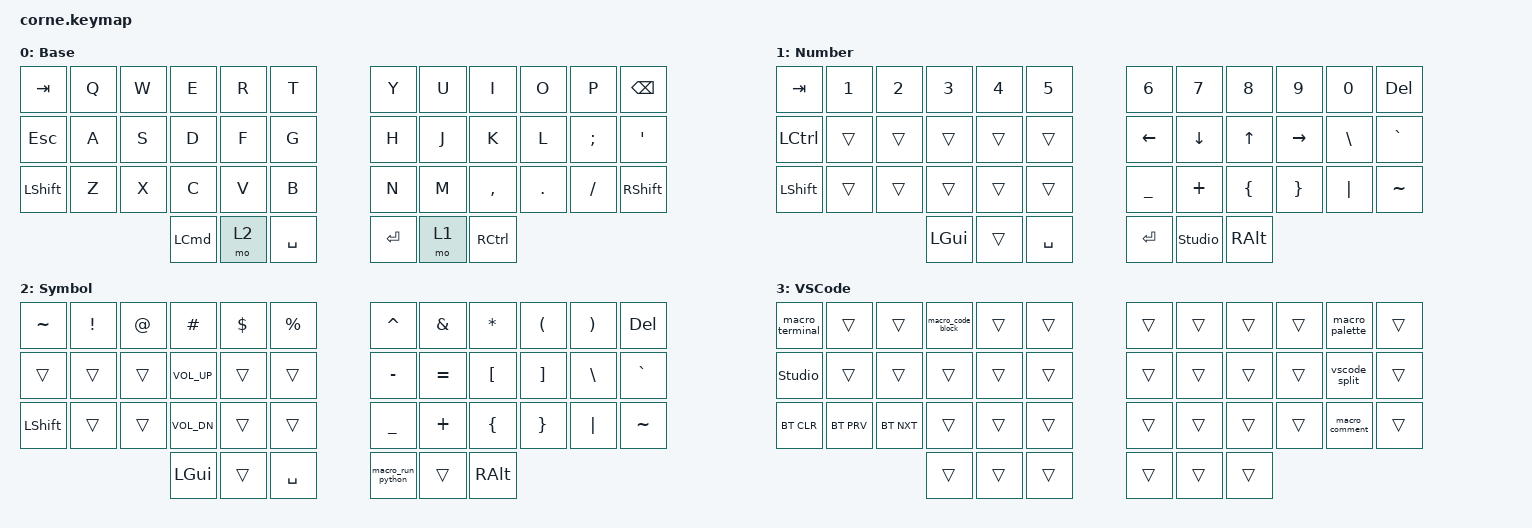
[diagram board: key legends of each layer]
/*
 * Copyright (c) 2020 The ZMK Contributors
 *
 * SPDX-License-Identifier: MIT
 */

#include <dt-bindings/zmk/reset.h>
#include <behaviors.dtsi>
#include <dt-bindings/zmk/bt.h>
#include <dt-bindings/zmk/keys.h>

/ {
    macros {
        macro_terminal: macro_terminal {
            compatible = "zmk,behavior-macro";
            #binding-cells = <0>;
            bindings = <&kp LC(GRAVE)>;
            label = "MACRO_TERMINAL";
        };

        macro_comment: macro_comment {
            compatible = "zmk,behavior-macro";
            #binding-cells = <0>;
            bindings = <&kp LG(SLASH)>;
            label = "MACRO_COMMENT";
        };

        macro_run_python: macro_run_python {
            compatible = "zmk,behavior-macro";
            #binding-cells = <0>;
            bindings = <&kp LS(ENTER)>;
            label = "MACRO_RUN_PYTHON";
        };

        macro_palette: macro_palette {
            compatible = "zmk,behavior-macro";
            #binding-cells = <0>;
            bindings = <&kp LCTRL &kp LSHFT &kp P>;
            label = "MACRO_PALETTE";
        };

        macro_code_block: macro_code_block {
            compatible = "zmk,behavior-macro";
            #binding-cells = <0>;
            bindings = <&kp POUND &kp PRCNT &kp PRCNT>;
            label = "MACRO_CODE_BLOCK";
        };

        git_commit: git_commit {
            compatible = "zmk,behavior-macro";
            #binding-cells = <0>;
            bindings = <&none &kp G &kp I &kp T &kp SPACE &kp C &kp O &kp M &kp M &kp I &kp T &kp SPACE &kp MINUS &kp M &kp SPACE>;
            label = "GIT_COMMIT";
        };

        git_push: git_push {
            compatible = "zmk,behavior-macro";
            #binding-cells = <0>;
            bindings = <&none &kp G &kp I &kp T &kp SPACE &kp P &kp U &kp S &kp H>;
            label = "GIT_PUSH";
        };

        python_type_hint: python_type_hint {
            compatible = "zmk,behavior-macro";
            #binding-cells = <0>;
            bindings = <&none &kp MINUS &kp GT>;
            label = "PYTHON_TYPE_HINT";
        };

        vscode_split: vscode_split {
            compatible = "zmk,behavior-macro";
            #binding-cells = <0>;
            bindings = <&hold_tap_enter LEFT_CONTROL BACKSLASH>;
            label = "VSCODE_SPLIT";
        };
    };

    behaviors {
        hold_tap_enter: hold_tap_enter {
            compatible = "zmk,behavior-hold-tap";
            label = "HOLD_TAP_ENTER";
            bindings = <&kp>, <&kp>;

            #binding-cells = <2>;
            tapping-term-ms = <300>;
        };
    };

    combos {
        compatible = "zmk,combos";

        git_commit {
            bindings = <&git_commit>;
            key-positions = <17 27>;
        };

        git_push {
            bindings = <&git_push>;
            key-positions = <17 10>;
        };

        tog_mac {
            bindings = <&tog 0>;
            key-positions = <16 19>;
            layers = <0>;
        };

        tog_win {
            bindings = <&tog 0>;
            key-positions = <28 31>;
        };

        python_hint {
            bindings = <&python_type_hint>;
            key-positions = <8 40>;
        };

        left_bracket {
            bindings = <&kp LEFT_BRACKET>;
            key-positions = <15 37>;
        };

        left_brace {
            bindings = <&kp LEFT_BRACE>;
            key-positions = <27 37>;
        };

        right_bracket {
            bindings = <&kp RIGHT_BRACKET>;
            key-positions = <20 40>;
        };

        right_brace {
            bindings = <&kp RIGHT_BRACE>;
            key-positions = <32 40>;
        };
    };

    keymap {
        compatible = "zmk,keymap";

        base {
            display-name = "Base";
            bindings = <
&kp TAB     &kp Q  &kp W  &kp E             &kp R  &kp T        &kp Y      &kp U  &kp I              &kp O    &kp P     &kp BSPC
&kp ESCAPE  &kp A  &kp S  &kp D             &kp F  &kp G        &kp H      &kp J  &kp K              &kp L    &kp SEMI  &kp SQT
&kp LSHFT   &kp Z  &kp X  &kp C             &kp V  &kp B        &kp N      &kp M  &kp COMMA          &kp DOT  &kp FSLH  &kp RIGHT_SHIFT
                          &kp LEFT_COMMAND  &mo 2  &kp SPACE    &kp ENTER  &mo 1  &kp RIGHT_CONTROL
            >;

            label = "BASE";
        };

        number {
            display-name = "Number";
            bindings = <
&kp TAB    &kp NUMBER_1  &kp NUMBER_2  &kp NUMBER_3  &kp NUMBER_4  &kp NUMBER_5    &kp NUMBER_6  &kp NUMBER_7    &kp N8        &kp NUMBER_9  &kp NUMBER_0  &kp DELETE
&kp LCTRL  &trans        &trans        &trans        &trans        &trans          &kp LEFT      &kp DOWN        &kp UP_ARROW  &kp RIGHT     &kp BSLH      &kp GRAVE
&kp LSHFT  &trans        &trans        &trans        &trans        &trans          &kp UNDER     &kp PLUS        &kp LBRC      &kp RBRC      &kp PIPE      &kp TILDE
                                       &kp LGUI      &trans        &kp SPACE       &kp RET       &studio_unlock  &kp RALT
            >;

            label = "NUMB";
        };

        symbol {
            display-name = "Symbol";
            bindings = <
&kp TILDE  &kp EXCL  &kp AT  &kp HASH         &kp DOLLAR  &kp PERCENT    &kp CARET          &kp AMPERSAND  &kp ASTERISK      &kp LEFT_PARENTHESIS  &kp RIGHT_PARENTHESIS  &kp DELETE
&trans     &trans    &trans  &kp C_VOLUME_UP  &trans      &trans         &kp MINUS          &kp EQUAL      &kp LEFT_BRACKET  &kp RIGHT_BRACKET     &kp BACKSLASH          &kp GRAVE
&kp LSHFT  &trans    &trans  &kp C_VOL_DN     &trans      &trans         &kp UNDERSCORE     &kp PLUS       &kp LEFT_BRACE    &kp RIGHT_BRACE       &kp PIPE               &kp TILDE
                             &kp LGUI         &trans      &kp SPACE      &macro_run_python  &trans         &kp RALT
            >;

            label = "SYMB";
        };

        vscode {
            display-name = "VSCode";
            bindings = <
&macro_terminal  &trans      &trans      &macro_code_block  &trans  &trans    &trans  &trans  &trans  &trans  &macro_palette  &trans
&studio_unlock   &trans      &trans      &trans             &trans  &trans    &trans  &trans  &trans  &trans  &vscode_split   &trans
&bt BT_CLR       &bt BT_PRV  &bt BT_NXT  &trans             &trans  &trans    &trans  &trans  &trans  &trans  &macro_comment  &trans
                                         &trans             &trans  &trans    &trans  &trans  &trans
            >;

            label = "VSC";
        };
    };

    conditional_layers {
        compatible = "zmk,conditional-layers";

        vscode_layer {
            if-layers = <2 1>;
            then-layer = <3>;
        };
    };
};
